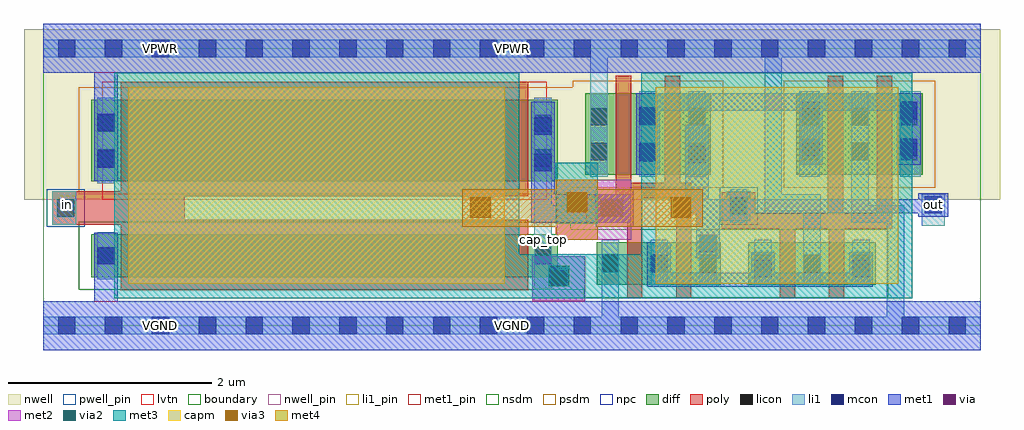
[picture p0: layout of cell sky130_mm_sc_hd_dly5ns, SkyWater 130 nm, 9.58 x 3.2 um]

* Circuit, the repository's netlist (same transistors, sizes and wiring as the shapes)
* NGSPICE file created from sky130_mm_sc_hd_dly5ns.ext - technology: sky130A

.subckt sky130_mm_sc_hd_dly5ns in out VPWR VGND VNB VPB
X0 a_1184_80# out VPWR VNB sky130_fd_pr__nfet_01v8 ad=3.99e+11p pd=4.42e+06u as=1.386e+11p ps=1.5e+06u w=420000u l=150000u
X1 cap_top VGND sky130_fd_pr__cap_mim_m3_1 l=1.24e+06u w=3.695e+06u
X2 VPWR out a_1184_80# VNB sky130_fd_pr__nfet_01v8 ad=0p pd=0u as=0p ps=0u w=420000u l=150000u
X3 VGND out a_1162_296# VPB sky130_fd_pr__pfet_01v8 ad=2.64e+11p pd=2.26e+06u as=7.52e+11p ps=6.68e+06u w=800000u l=150000u
X4 a_1162_296# out VGND VPB sky130_fd_pr__pfet_01v8 ad=0p pd=0u as=0p ps=0u w=800000u l=150000u
X5 cap_top in VGND VNB sky130_fd_pr__nfet_01v8 ad=1.218e+11p pd=1.42e+06u as=2.478e+11p ps=2.86e+06u w=420000u l=4e+06u
X6 cap_top VGND sky130_fd_pr__cap_mim_m3_1 l=1.24e+06u w=2.38e+06u
X7 a_1162_296# cap_top VPWR VPB sky130_fd_pr__pfet_01v8 ad=0p pd=0u as=4.72e+11p ps=4.38e+06u w=800000u l=150000u
X8 out cap_top a_1162_296# VPB sky130_fd_pr__pfet_01v8 ad=2.4e+11p pd=2.2e+06u as=0p ps=0u w=800000u l=150000u
X9 cap_top in VPWR VPB sky130_fd_pr__pfet_01v8_lvt ad=2.32e+11p pd=2.18e+06u as=0p ps=0u w=800000u l=4e+06u
X10 out cap_top a_1184_80# VNB sky130_fd_pr__nfet_01v8 ad=1.218e+11p pd=1.42e+06u as=0p ps=0u w=420000u l=150000u
X11 a_1184_80# cap_top VGND VNB sky130_fd_pr__nfet_01v8 ad=0p pd=0u as=0p ps=0u w=420000u l=150000u
.ends

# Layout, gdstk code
import gdstk
lib = gdstk.Library(unit=1e-6, precision=1e-09)
def R(c, l, rs):  # rectangles x0, y0, x1, y1
    for r in rs: c.add(gdstk.rectangle(r[:2], r[2:], *l))
def A(c, l, x, y, w, h, nx, ny, dx, dy):  # array of equal rectangles
    R(c, l, [(x+i*dx, y+j*dy, x+i*dx+w, y+j*dy+h) for i in range(nx) for j in range(ny)])
nwell_pin = (64, 16)
nwell = (64, 20)
diff = (65, 20)
poly = (66, 20)
licon = (66, 44)
li1_pin = (67, 16)
li1 = (67, 20)
mcon = (67, 44)
met1_pin = (68, 16)
met1 = (68, 20)
via = (68, 44)
met2 = (69, 20)
via2 = (69, 44)
met3 = (70, 20)
via3 = (70, 44)
met4 = (71, 20)
capm = (89, 44)
nsdm = (93, 44)
psdm = (94, 20)
npc = (95, 20)
pwell_pin = (122, 16)
lvtn = (125, 44)
boundary = (235, 4)

sky130_mm_sc_hd_dly5ns = lib.new_cell('sky130_mm_sc_hd_dly5ns')
R(sky130_mm_sc_hd_dly5ns, nwell_pin, [(1.065,2.635,1.235,2.805)])
R(sky130_mm_sc_hd_dly5ns, nwell, [(-0.19,1.235,9.39,2.91)])
R(sky130_mm_sc_hd_dly5ns, diff, [(5.43,0.4,6.65,0.82), (6.92,0.4,8.17,0.82), (0.47,0.475,5.05,0.895), (0.47,1.415,5.05,2.215), (5.32,1.48,6.55,2.28), (7.39,1.48,8.63,2.28)])
R(sky130_mm_sc_hd_dly5ns, poly, [(5.73,0.27,5.88,1.01), (6.21,0.27,6.36,1.25), (7.23,0.27,7.38,0.95), (7.71,0.27,7.86,0.95), (0.76,0.345,4.76,0.99), (6.66,0.95,8.33,1.1), (0.085,0.99,4.76,1.04), (5.33,1.01,5.88,1.25), (0.085,1.04,1.39,1.27), (6.66,1.1,6.99,1.31), (7.7,1.1,7.85,2.45), (8.18,1.1,8.33,2.45), (5.33,1.25,6.36,1.29), (0.085,1.27,4.76,1.32), (5.62,1.29,6.36,1.4), (0.76,1.32,4.76,2.395), (5.62,1.4,5.77,2.45), (6.1,1.4,6.25,2.45)])
A(sky130_mm_sc_hd_dly5ns, licon, 5.48, 0.525, 0.17, 0.17, 3, 1, 0.48, 0)
A(sky130_mm_sc_hd_dly5ns, licon, 6.98, 0.525, 0.17, 0.17, 3, 1, 0.48, 0)
A(sky130_mm_sc_hd_dly5ns, licon, 5.37, 1.625, 0.17, 0.17, 3, 2, 0.48, 0.34)
A(sky130_mm_sc_hd_dly5ns, licon, 7.45, 1.625, 0.17, 0.17, 3, 2, 0.48, 0.34)
R(sky130_mm_sc_hd_dly5ns, licon, [(0.53,0.6,0.7,0.77), (4.82,0.6,4.99,0.77), (0.135,1.07,0.305,1.24), (5.52,1.07,5.69,1.24), (6.74,1.09,6.91,1.26), (0.53,1.56,0.7,1.73), (4.82,1.56,4.99,1.73), (0.53,1.9,0.7,2.07), (4.82,1.9,4.99,2.07)])
R(sky130_mm_sc_hd_dly5ns, li1_pin, [(0.15,1.105,0.32,1.275)])
R(sky130_mm_sc_hd_dly5ns, li1, [(0,-0.085,9.2,0.085), (5.48,0.085,5.65,0.84), (8.28,0.085,8.45,1.01), (4.82,0.365,4.99,1.01), (5.96,0.38,6.13,0.84), (6.44,0.38,6.61,0.89), (6.98,0.38,7.15,0.84), (7.46,0.38,7.63,1.12), (7.94,0.38,8.11,0.84), (0.53,0.455,0.7,0.915), (8.62,0.98,8.85,1.29), (0.085,0.99,0.325,1.32), (4.82,1.01,5.77,1.18), (6.74,1.01,6.91,1.34), (7.93,1.01,8.45,1.18), (7.08,1.12,7.63,1.29), (4.82,1.18,4.99,2.235), (5.41,1.18,5.77,1.29), (7.93,1.18,8.1,2.3), (7.08,1.29,7.25,2.635), (0.53,1.395,0.7,2.235), (5.37,1.46,5.54,2.635), (5.85,1.46,6.02,2.3), (6.33,1.46,6.5,2.3), (7.42,1.46,7.62,2.3), (8.41,1.46,8.61,2.3), (0,2.635,9.2,2.805)])
A(sky130_mm_sc_hd_dly5ns, mcon, 0.145, -0.085, 0.17, 0.17, 20, 2, 0.46, 2.72)
R(sky130_mm_sc_hd_dly5ns, mcon, [(6.98,0.475,7.15,0.645), (7.94,0.475,8.11,0.645), (5.96,0.525,6.13,0.695), (0.53,0.6,0.7,0.77), (6.44,0.72,6.61,0.89), (5.465,1.07,5.635,1.24), (6.74,1.09,6.91,1.26), (8.65,1.1,8.82,1.27), (4.82,1.515,4.99,1.685), (0.53,1.55,0.7,1.72), (6.33,1.595,6.5,1.765), (5.85,1.615,6.02,1.785), (7.45,1.665,7.62,1.835), (8.41,1.665,8.58,1.835), (4.82,1.875,4.99,2.045), (0.53,1.91,0.7,2.08), (5.85,1.975,6.02,2.145), (7.45,2.025,7.62,2.195), (8.41,2.025,8.58,2.195)])
R(sky130_mm_sc_hd_dly5ns, met1_pin, [(0,-0.24,9.2,0.24), (1.065,-0.085,1.235,0.085), (8.65,1.1,8.82,1.27), (0,2.48,9.2,2.96), (1.065,2.635,1.235,2.805)])
R(sky130_mm_sc_hd_dly5ns, met1, [(0,-0.24,9.2,0.24), (0.5,0.24,0.73,0.91), (4.8,0.24,5.32,0.68), (5.93,0.38,8.14,0.52), (5.93,0.52,6.16,0.82), (6.95,0.52,7.18,0.72), (7.91,0.52,8.14,0.72), (6.41,0.66,6.64,1.03), (4.79,1.01,5.77,1.29), (6.41,1.03,6.94,1.1), (8.59,1.07,8.88,1.1), (6.3,1.1,8.88,1.24), (6.3,1.24,6.53,1.97), (6.71,1.24,6.94,1.32), (8.59,1.24,8.88,1.3), (4.79,1.29,5.02,2.195), (0.5,1.415,0.73,2.48), (5.82,1.48,6.05,2.11), (7.42,1.58,7.65,2.11), (8.38,1.58,8.61,2.11), (5.82,2.11,8.61,2.28), (0,2.48,9.2,2.96)])
R(sky130_mm_sc_hd_dly5ns, via, [(4.985,0.39,5.135,0.54), (5.475,1.075,5.625,1.225)])
R(sky130_mm_sc_hd_dly5ns, met2, [(4.8,0.24,5.32,0.68), (5.04,0.84,5.77,1.43)])
R(sky130_mm_sc_hd_dly5ns, via2, [(4.96,0.385,5.16,0.585), (5.135,1.11,5.335,1.31)])
R(sky130_mm_sc_hd_dly5ns, met3, [(0.695,0.27,8.53,0.7), (0.695,0.7,4.67,2.48), (5.87,0.7,8.53,2.48), (5.03,1,5.44,1.6)])
R(sky130_mm_sc_hd_dly5ns, via3, [(4.19,1.06,4.39,1.26), (6.16,1.06,6.36,1.26), (5.14,1.11,5.34,1.31)])
R(sky130_mm_sc_hd_dly5ns, met4, [(5.03,0.84,5.44,0.97), (4.11,0.97,6.47,1.34), (5.03,1.34,5.44,1.43)])
R(sky130_mm_sc_hd_dly5ns, capm, [(0.835,0.41,4.53,2.34), (6.01,0.41,8.39,2.34)])
R(sky130_mm_sc_hd_dly5ns, nsdm, [(5.305,0.275,8.295,0.35), (0.345,0.35,8.295,0.945), (0.345,0.945,5.175,1.02)])
R(sky130_mm_sc_hd_dly5ns, psdm, [(0.345,1.29,5.175,1.355), (0.345,1.355,6.675,2.34), (7.265,1.355,8.755,2.405), (5.195,2.34,6.675,2.405)])
R(sky130_mm_sc_hd_dly5ns, npc, [(0.035,0.97,0.405,1.34), (5.42,0.97,5.79,1.34), (6.64,0.99,7.01,1.36)])
R(sky130_mm_sc_hd_dly5ns, pwell_pin, [(1.065,-0.085,1.235,0.085)])
R(sky130_mm_sc_hd_dly5ns, lvtn, [(0.58,1.235,4.94,2.395)])
R(sky130_mm_sc_hd_dly5ns, boundary, [(0,0,9.2,2.72)])
sky130_mm_sc_hd_dly5ns.add(gdstk.Label('cap_top', (4.905,0.845), layer=67, texttype=5))
sky130_mm_sc_hd_dly5ns.add(gdstk.Label('in', (0.235,1.19), layer=67, texttype=16))
sky130_mm_sc_hd_dly5ns.add(gdstk.Label('out', (8.735,1.185), layer=68, texttype=16))
sky130_mm_sc_hd_dly5ns.add(gdstk.Label('VPWR', (4.6,2.72), layer=68, texttype=16))
sky130_mm_sc_hd_dly5ns.add(gdstk.Label('VPWR', (1.15,2.72), layer=68, texttype=16))
sky130_mm_sc_hd_dly5ns.add(gdstk.Label('VGND', (1.15,0), layer=68, texttype=16))
sky130_mm_sc_hd_dly5ns.add(gdstk.Label('VGND', (4.6,0), layer=68, texttype=16))
sky130_mm_sc_hd_dly5ns.add(gdstk.Label('VPB', (1.15,2.72), layer=64, texttype=16))
sky130_mm_sc_hd_dly5ns.add(gdstk.Label('VNB', (1.15,0), layer=122, texttype=16))

lib.write_gds('sky130_mm_sc_hd_dly5ns.gds')
